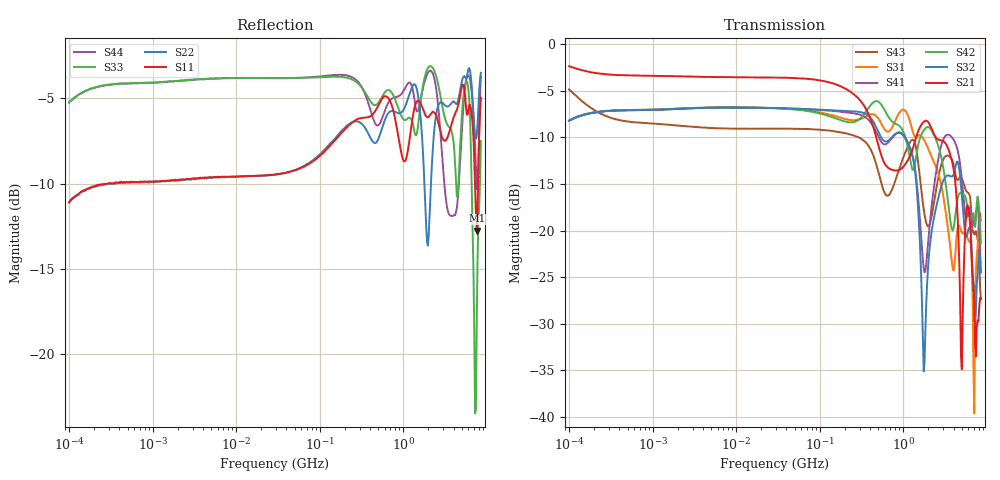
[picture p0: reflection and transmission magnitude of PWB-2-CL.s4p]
# MHz S MA R 50
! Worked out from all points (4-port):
!   498 points, 100 kHz to 8.5 GHz, reference 50 ohm
!   strongest paths, dB at 100 kHz, 1.698 MHz, 29.49 MHz, 500.7 MHz, 8.5 GHz:
!     S21: -2.4, -3.4, -3.6, -10.7, -27.4
!     S32: -8.2, -7.0, -6.8, -9.4, -24.5
!     S42: -8.2, -7.0, -6.9, -6.2, -21.4
!     S41: -8.2, -7.0, -6.8, -9.9, -24.5
!     S31: -8.2, -7.0, -6.9, -7.9, -18.9
!     S43: -4.8, -8.7, -9.1, -13.6, -27.3
!   lowest |S11| = -12.8 dB at 7.583 GHz (marker M1), VSWR 1.60, Z = 48.7 + j23.3 ohm
!   |S11| at or under -10 dB: start of sweep to 293 kHz; 320.5 kHz to 330.5 kHz (10.08 kHz wide, 3.1 % of centre); 7.237 GHz to 7.871 GHz (633.8 MHz wide, 8.39 % of centre)
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0.1  0.2783 28.4  0.7629 -10.1  0.3886 28.6  0.3874 -151.5
     0.7629 -10.1  0.2787 29.5  0.3894 -151.9  0.3902 28.0
     0.3886 28.6  0.3894 -151.9  0.5447 27.6  0.5729 -26.5
     0.3874 -151.5  0.3902 28.0  0.5729 -26.5  0.5472 27.8
175.1055  0.44 -3.0  0.5969 -54.2  0.4043 -23.8  0.4349 118.3
          0.5969 -54.2  0.4456 -6.0  0.4399 118.0  0.3926 -22.3
          0.4043 -23.8  0.4399 118.0  0.6491 -20.4  0.3373 -58.0
          0.4349 118.3  0.3926 -22.3  0.3373 -58.0  0.6581 -21.4
1926.311  0.4955 -161.1  0.3874 -141.1  0.2851 144.9  0.07315 -25.7
          0.3874 -141.1  0.2134 -166.3  0.05079 -123.2  0.3593 167.3
          0.2851 144.9  0.05079 -123.2  0.6805 -153.8  0.1069 -123.4
          0.07315 -25.7  0.3593 167.3  0.1069 -123.4  0.6587 -157.6
3651.237  0.457 72.5  0.2555 -10.2  0.08167 -14.7  0.3231 36.9
          0.2555 -10.2  0.5381 79.0  0.1959 34.1  0.1143 -14.0
          0.08167 -14.7  0.1959 34.1  0.4584 31.9  0.2475 56.7
          0.3231 36.9  0.1143 -14.0  0.2475 56.7  0.2546 45.5
5507.7  0.5711 -119.0  0.09846 -85.6  0.09804 -153.6  0.1217 -176.8
        0.09846 -85.6  0.6467 -103.0  0.09682 -176.6  0.1528 -173.4
        0.09804 -153.6  0.09682 -176.6  0.6169 -106.8  0.1686 -132.3
        0.1217 -176.8  0.1528 -173.4  0.1686 -132.3  0.6077 -90.7
7582.758  0.23 80.0  0.03006 62.5  0.07167 50.6  0.1314 -12.0
          0.03006 62.5  0.4366 79.2  0.05114 39.6  0.1398 -10.6
          0.07167 50.6  0.05114 39.6  0.1239 -7.8  0.09627 26.7
          0.1314 -12.0  0.1398 -10.6  0.09627 26.7  0.3046 108.7
8500  0.5639 -62.3  0.04269 -18.4  0.1131 -74.0  0.05955 -140.8
      0.04269 -18.4  0.6669 -54.6  0.05961 -79.8  0.08532 -131.1
      0.1131 -74.0  0.05961 -79.8  0.4211 -46.1  0.04319 -56.6
      0.05955 -140.8  0.08532 -131.1  0.04319 -56.6  0.6503 -37.7
